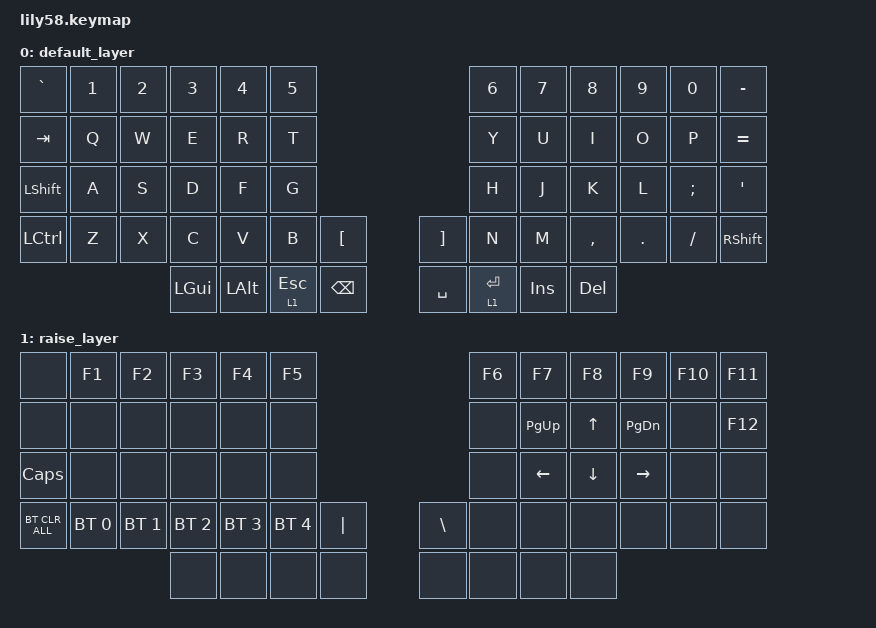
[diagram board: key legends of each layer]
/*
 * Copyright (c) 2020 The ZMK Contributors
 *
 * SPDX-License-Identifier: MIT
 */

#include <behaviors.dtsi>
#include <dt-bindings/zmk/keys.h>
#include <dt-bindings/zmk/bt.h>
#include <dt-bindings/zmk/ext_power.h>

/ {
    behaviors {
        lt_rpt: layer_tap_repeat {
            compatible = "zmk,behavior-hold-tap";
            #binding-cells = <2>;
            flavor = "tap-preferred";
            tapping-term-ms = <200>;
            quick-tap-ms = <200>;
            bindings = <&mo>, <&kp>;
        };
    };

    keymap {
        compatible = "zmk,keymap";

        default_layer {
            bindings = <
                &kp GRAVE &kp N1 &kp N2 &kp N3 &kp N4 &kp N5               &kp N6 &kp N7 &kp N8 &kp N9 &kp N0 &kp MINUS
                &kp TAB   &kp Q  &kp W  &kp E  &kp R  &kp T                &kp Y  &kp U  &kp I  &kp O  &kp P   &kp EQUAL
                &kp LSHIFT &kp A &kp S &kp D &kp F &kp G                   &kp H  &kp J  &kp K  &kp L  &kp SEMI &kp SQT
                &kp LCTRL &kp Z &kp X &kp C &kp V &kp B &kp LBKT &kp RBKT  &kp N  &kp M  &kp COMMA &kp DOT &kp SLASH &kp RSHIFT
                              &kp LGUI &kp LALT &lt 1 ESC &kp BSPC     &kp SPACE &lt_rpt 1 ENTER &kp INS &kp DEL
            >;
        };

        raise_layer {
            bindings = <
                &none   &kp F1   &kp F2   &kp F3   &kp F4   &kp F5           &kp F6   &kp F7   &kp F8   &kp F9   &kp F10  &kp F11
                &none   &none    &none    &none    &none    &none            &none    &kp PG_UP &kp UP   &kp PG_DN &none   &kp F12
                &kp CAPS &none   &none    &none    &none    &none            &none    &kp LEFT  &kp DOWN &kp RIGHT &none   &none
                &bt BT_CLR_ALL   &bt BT_SEL 0		&bt BT_SEL 1 		&bt BT_SEL 2		&bt BT_SEL 3   		&bt BT_SEL 4    &kp PIPE &kp BSLH  &none   &none   &none    &none    &none    &none
                              &none &none &none &none             &none &none &none &none
            >;
        };
    };
};

